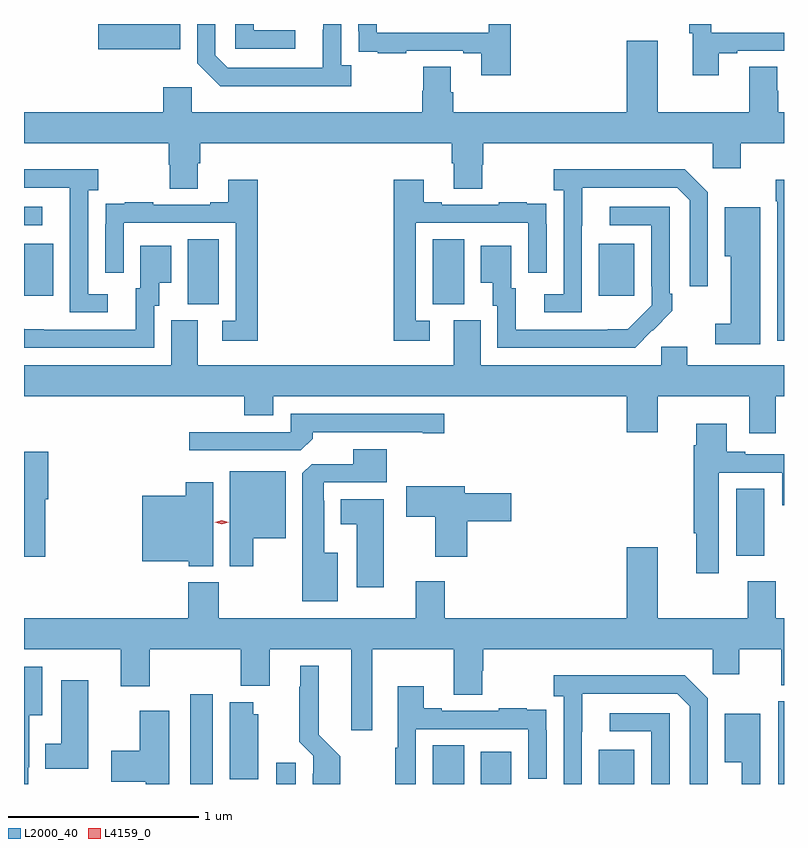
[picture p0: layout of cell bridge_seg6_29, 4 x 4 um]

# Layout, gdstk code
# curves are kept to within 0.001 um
import gdstk
lib = gdstk.Library(unit=1e-6, precision=1e-09)
def R(c, l, rs):  # rectangles x0, y0, x1, y1
    for r in rs: c.add(gdstk.rectangle(r[:2], r[2:], *l))
def P(c, l, *ps):  # polygons
    for p in ps: c.add(gdstk.Polygon(p, *l))
L2000_40 = (2000, 40)
L4159_0 = (4159, 0)

bridge_seg6_29 = lib.new_cell('bridge_seg6_29')
R(bridge_seg6_29, L2000_40, [(1073.798,987.92,1073.917,988.393), (1074.251,987.92,1074.355,988.033), (1075.076,987.92,1075.24,988.124), (1075.328,987.92,1075.489,988.09), (1075.949,987.92,1076.137,988.099), (1076.894,987.92,1076.924,988.356), (1076.672,989.121,1076.821,989.474), (1073.786,990.445,1073.95,990.788), (1075.076,990.445,1075.24,990.788), (1072.924,990.489,1073.077,990.763), (1075.949,990.489,1076.137,990.763), (1072.924,990.861,1073.02,990.957), (1073.316,991.786,1073.746,991.92)])
P(bridge_seg6_29, L2000_40, [(1074.646,991.702),(1074.594,991.702),(1074.594,991.92),(1074.498,991.92),(1074.497,991.689),(1073.997,991.689),(1073.931,991.755),(1073.931,991.92),(1073.835,991.92),(1073.835,991.713),(1073.956,991.592),(1074.646,991.592)],
  [(1076.581,991.767),(1076.677,991.767),(1076.677,991.779),(1076.924,991.779),(1076.924,991.875),(1076.541,991.875),(1076.541,991.92),(1076.425,991.92),(1076.425,991.872),(1076.444,991.872),(1076.444,991.65),(1076.581,991.65)],
  [(1075.487,991.92),(1075.371,991.92),(1075.371,991.875),(1074.78,991.875),(1074.78,991.92),(1074.684,991.92),(1074.684,991.882),(1074.685,991.882),(1074.685,991.773),(1074.787,991.773),(1074.787,991.767),(1074.935,991.767),(1074.935,991.779),(1075.235,991.779),(1075.235,991.767),(1075.331,991.767),(1075.331,991.65),(1075.487,991.65)],
  [(1074.352,991.887),(1074.132,991.887),(1074.132,991.92),(1074.036,991.92),(1074.036,991.791),(1074.352,991.791)],
  [(1073.839,991.186),(1073.852,991.186),(1073.852,991.292),(1075.175,991.292),(1075.175,991.186),(1075.187,991.186),(1075.187,991.054),(1075.335,991.054),(1075.335,991.179),(1075.34,991.179),(1075.34,991.292),(1076.55,991.292),(1076.55,991.161),(1076.697,991.161),(1076.697,991.292),(1076.924,991.292),(1076.924,991.456),(1076.894,991.456),(1076.894,991.569),(1076.889,991.569),(1076.889,991.694),(1076.741,991.694),(1076.741,991.456),(1076.26,991.456),(1076.26,991.831),(1076.096,991.831),(1076.096,991.456),(1075.184,991.456),(1075.184,991.562),(1075.171,991.562),(1075.171,991.694),(1075.024,991.694),(1075.024,991.569),(1075.019,991.569),(1075.019,991.456),(1073.808,991.456),(1073.808,991.588),(1073.657,991.588),(1073.657,991.456),(1072.924,991.456),(1072.924,991.292),(1073.687,991.292),(1073.687,991.179),(1073.692,991.179),(1073.692,991.054),(1073.839,991.054)],
  [(1073.365,990.498),(1073.262,990.498),(1073.262,991.046),(1073.314,991.046),(1073.314,991.156),(1072.924,991.156),(1072.924,991.059),(1073.165,991.059),(1073.165,990.859),(1073.166,990.859),(1073.166,990.402),(1073.365,990.402)],
  [(1075.86,990.859),(1075.861,991.059),(1076.361,991.059),(1076.427,990.993),(1076.427,990.54),(1076.523,990.54),(1076.523,991.035),(1076.402,991.156),(1075.713,991.156),(1075.713,991.046),(1075.764,991.046),(1075.764,990.498),(1075.662,990.498),(1075.662,990.402),(1075.86,990.402)],
  [(1075.06,990.357),(1074.987,990.357),(1074.987,990.873),(1075.578,990.873),(1075.578,990.612),(1075.674,990.612),(1075.674,990.866),(1075.673,990.866),(1075.673,990.975),(1075.571,990.975),(1075.571,990.982),(1075.423,990.982),(1075.423,990.969),(1075.123,990.969),(1075.123,990.982),(1075.027,990.982),(1075.027,991.099),(1074.871,991.099),(1074.871,990.252),(1075.06,990.252)],
  [(1074.155,991.099),(1073.999,991.099),(1073.999,990.982),(1073.903,990.982),(1073.903,990.969),(1073.603,990.969),(1073.603,990.982),(1073.455,990.982),(1073.455,990.975),(1073.353,990.975),(1073.353,990.866),(1073.352,990.866),(1073.352,990.612),(1073.448,990.612),(1073.448,990.873),(1074.039,990.873),(1074.039,990.357),(1073.967,990.357),(1073.967,990.252),(1074.155,990.252)],
  [(1076.924,991.099),(1076.881,991.099),(1076.881,990.986),(1076.889,990.986),(1076.889,990.252),(1076.924,990.252)],
  [(1076.231,990.307),(1076.232,990.306),(1076.337,990.411),(1076.337,990.499),(1076.322,990.499),(1076.322,990.957),(1076.007,990.957),(1076.007,990.861),(1076.226,990.861),(1076.226,990.541),(1076.229,990.541),(1076.229,990.441),(1076.101,990.313),(1075.513,990.312),(1075.513,990.528),(1075.489,990.528),(1075.489,990.754),(1075.328,990.754),(1075.328,990.557),(1075.391,990.557),(1075.391,990.438),(1075.416,990.438),(1075.416,990.216),(1076.14,990.216)],
  [(1076.8,990.955),(1076.612,990.955),(1076.612,990.698),(1076.645,990.698),(1076.645,990.343),(1076.562,990.343),(1076.562,990.234),(1076.8,990.234)],
  [(1073.61,990.438),(1073.635,990.438),(1073.635,990.557),(1073.698,990.557),(1073.698,990.754),(1073.537,990.754),(1073.537,990.528),(1073.513,990.528),(1073.513,990.312),(1073.029,990.312),(1072.926,990.313),(1072.924,990.315),(1072.924,990.216),(1073.61,990.216)],
  [(1076.277,990.222),(1076.277,990.124),(1075.327,990.124),(1075.327,990.36),(1075.187,990.36),(1075.187,990.124),(1073.839,990.124),(1073.839,990.36),(1073.699,990.36),(1073.699,990.124),(1072.924,990.124),(1072.924,989.96),(1074.083,989.96),(1074.083,989.861),(1074.235,989.861),(1074.235,989.96),(1076.096,989.96),(1076.096,989.772),(1076.26,989.772),(1076.26,989.96),(1076.741,989.96),(1076.741,989.766),(1076.881,989.766),(1076.881,989.96),(1076.924,989.96),(1076.924,990.124),(1076.416,990.124),(1076.416,990.222)],
  [(1074.443,989.738),(1074.443,989.772),(1075.022,989.772),(1075.022,989.767),(1075.135,989.767),(1075.135,989.868),(1074.327,989.868),(1074.327,989.772),(1073.793,989.772),(1073.793,989.676),(1074.381,989.676)],
  [(1076.581,989.559),(1076.915,989.559),(1076.915,989.388),(1076.924,989.388),(1076.924,989.655),(1076.719,989.655),(1076.719,989.668),(1076.623,989.668),(1076.623,989.815),(1076.462,989.815),(1076.462,989.702),(1076.45,989.702),(1076.45,989.24),(1076.462,989.24),(1076.462,989.028),(1076.581,989.028)],
  [(1074.574,989.137),(1074.505,989.137),(1074.505,989.411),(1074.501,989.411),(1074.501,989.508),(1074.832,989.508),(1074.832,989.683),(1074.656,989.683),(1074.656,989.604),(1074.438,989.604),(1074.389,989.555),(1074.389,988.883),(1074.574,988.883)],
  [(1073.036,989.419),(1073.051,989.419),(1073.051,989.668),(1072.924,989.668),(1072.924,989.115),(1073.036,989.115)],
  [(1074.13,989.213),(1074.301,989.213),(1074.301,989.566),(1074.008,989.566),(1074.008,989.067),(1074.13,989.067)],
  [(1073.92,989.509),(1073.774,989.509),(1073.774,989.437),(1073.546,989.437),(1073.546,989.093),(1073.79,989.093),(1073.79,989.066),(1073.92,989.066)],
  [(1075.256,989.303),(1075.489,989.303),(1075.489,989.45),(1075.243,989.45),(1075.243,989.488),(1074.936,989.488),(1074.936,989.326),(1075.088,989.326),(1075.088,989.115),(1075.256,989.115)],
  [(1074.817,989.419),(1074.59,989.419),(1074.59,989.288),(1074.674,989.288),(1074.674,988.956),(1074.817,988.956)],
  [(1074.757,988.628),(1075.187,988.628),(1075.187,988.39),(1075.335,988.39),(1075.335,988.515),(1075.34,988.515),(1075.34,988.628),(1076.55,988.628),(1076.55,988.497),(1076.689,988.497),(1076.689,988.628),(1076.909,988.628),(1076.909,988.441),(1076.924,988.441),(1076.924,988.792),(1076.881,988.792),(1076.881,988.987),(1076.734,988.987),(1076.734,988.792),(1076.26,988.792),(1076.26,989.167),(1076.096,989.167),(1076.096,988.792),(1075.139,988.792),(1075.139,988.987),(1074.986,988.987),(1074.986,988.792),(1073.949,988.792),(1073.949,988.981),(1073.789,988.981),(1073.789,988.792),(1072.924,988.792),(1072.924,988.628),(1073.432,988.628),(1073.432,988.434),(1073.585,988.434),(1073.585,988.628),(1074.065,988.628),(1074.065,988.436),(1074.217,988.436),(1074.217,988.628),(1074.647,988.628),(1074.647,988.203),(1074.757,988.203)],
  [(1074.588,988.067),(1074.475,988.18),(1074.475,988.543),(1074.377,988.543),(1074.377,988.433),(1074.373,988.433),(1074.373,988.142),(1074.447,988.068),(1074.447,987.974),(1074.443,987.974),(1074.443,987.92),(1074.588,987.92)],
  [(1072.947,988.009),(1072.951,988.009),(1072.951,988.283),(1073.02,988.283),(1073.02,988.537),(1072.924,988.537),(1072.924,987.92),(1072.947,987.92)],
  [(1075.86,988.195),(1075.861,988.395),(1076.361,988.395),(1076.427,988.329),(1076.427,987.92),(1076.523,987.92),(1076.523,988.371),(1076.402,988.492),(1075.713,988.492),(1075.713,988.382),(1075.764,988.382),(1075.764,987.92),(1075.86,987.92)],
  [(1073.263,988.465),(1073.12,988.465),(1073.12,988.132),(1073.036,988.132),(1073.036,988.001),(1073.263,988.001)],
  [(1074.987,988.209),(1075.578,988.209),(1075.578,987.948),(1075.674,987.948),(1075.674,988.202),(1075.673,988.202),(1075.673,988.311),(1075.571,988.311),(1075.571,988.318),(1075.423,988.318),(1075.423,988.305),(1075.123,988.305),(1075.123,988.318),(1075.027,988.318),(1075.027,988.435),(1074.89,988.435),(1074.89,988.112),(1074.879,988.112),(1074.879,987.92),(1074.987,987.92)],
  [(1074.157,988.287),(1074.13,988.287),(1074.13,988.351),(1074.008,988.351),(1074.008,987.946),(1074.157,987.946)],
  [(1073.689,988.306),(1073.534,988.306),(1073.534,988.095),(1073.382,988.095),(1073.382,987.932),(1073.564,987.932),(1073.564,987.92),(1073.689,987.92)],
  [(1076.322,988.293),(1076.007,988.293),(1076.007,988.197),(1076.226,988.197),(1076.226,987.92),(1076.322,987.92)],
  [(1076.799,988.291),(1076.612,988.291),(1076.612,988.034),(1076.702,988.034),(1076.702,987.92),(1076.799,987.92)])
P(bridge_seg6_29, L4159_0, [(1073.965,989.287),(1073.928,989.297),(1073.928,989.297),(1073.928,989.297),(1073.965,989.307),(1074.001,989.298),(1074.001,989.298),(1074.001,989.298)])

lib.write_gds('bridge_seg6_29.gds')
